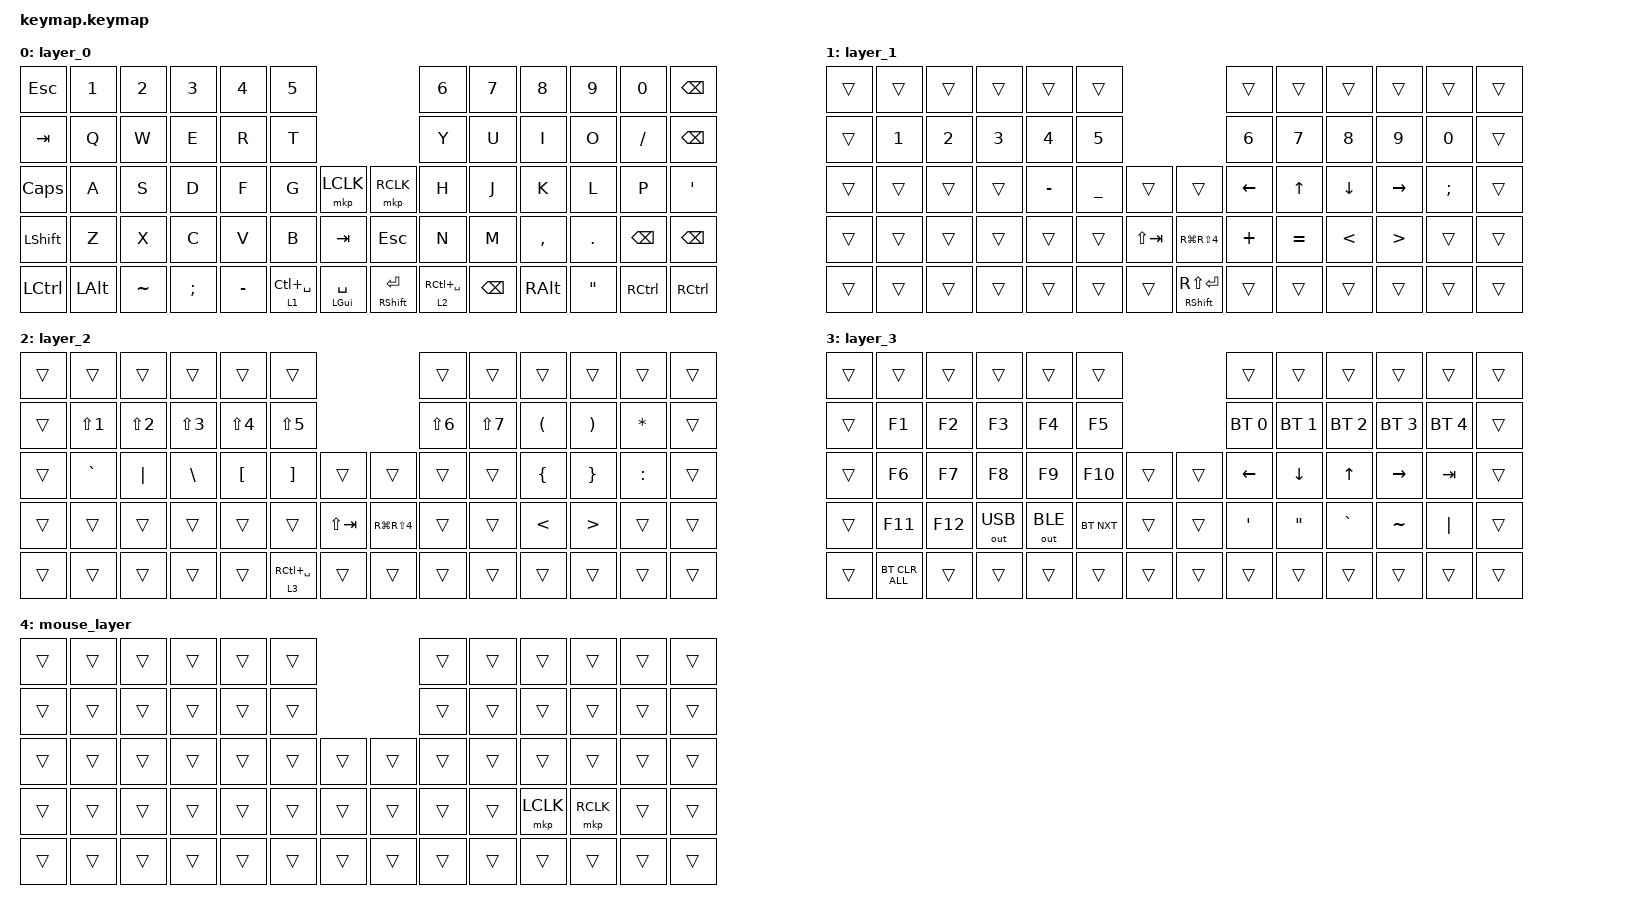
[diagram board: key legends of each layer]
#include <behaviors.dtsi>
#include <dt-bindings/zmk/bt.h>
#include <dt-bindings/zmk/keys.h>
#include <dt-bindings/zmk/outputs.h>
#include <dt-bindings/zmk/pointing.h>

/ {
    combos {
        compatible = "zmk,combos";

        bt_clear {
            bindings = <&bt BT_CLR>;
            key-positions = <28 29>;
            layers = <2>;
        };
    };

    keymap {
        compatible = "zmk,keymap";

        layer_0 {
            bindings = <
&kp ESC    &kp N1        &kp N2     &kp N3    &kp N4     &kp N5                                             &kp N6           &kp N7    &kp N8     &kp N9             &kp N0         &kp BSPC
&kp TAB    &kp Q         &kp W      &kp E     &kp R      &kp T                                              &kp Y            &kp U     &kp I      &kp O              &kp SLASH      &kp BSPC
&kp CAPS   &kp A         &kp S      &kp D     &kp F      &kp G            &mkp LCLK       &mkp RCLK         &kp H            &kp J     &kp K      &kp L              &kp P          &kp SQT
&kp LSHFT  &kp Z         &kp X      &kp C     &kp V      &kp B            &kp TAB         &kp ESCAPE        &kp N            &kp M     &kp COMMA  &kp DOT            &kp BACKSPACE  &kp BACKSPACE
&kp LCTRL  &kp LEFT_ALT  &kp TILDE  &kp SEMI  &kp MINUS  &lt 1 LC(SPACE)  &mt LGUI SPACE  &mt RSHIFT ENTER  &lt 2 RC(SPACE)  &kp BSPC  &kp RALT   &kp DOUBLE_QUOTES  &kp RCTRL      &kp RCTRL
            >;
        };

        layer_1 {
            bindings = <
&trans  &trans        &trans        &trans        &trans        &trans                                                  &trans          &trans        &trans          &trans            &trans         &trans
&trans  &kp NUMBER_1  &kp NUMBER_2  &kp NUMBER_3  &kp NUMBER_4  &kp N5                                                  &kp NUMBER_6    &kp N7        &kp N8          &kp N9            &kp N0         &trans
&trans  &trans        &trans        &trans        &kp MINUS     &kp UNDERSCORE  &trans       &trans                     &kp LEFT_ARROW  &kp UP_ARROW  &kp DOWN_ARROW  &kp RIGHT_ARROW   &kp SEMICOLON  &trans
&trans  &trans        &trans        &trans        &trans        &trans          &kp LS(TAB)  &kp RG(RS(NUMBER_4))       &kp PLUS        &kp EQUAL     &kp LESS_THAN   &kp GREATER_THAN  &trans         &trans
&trans  &trans        &trans        &trans        &trans        &trans          &trans       &mt RIGHT_SHIFT RS(ENTER)  &trans          &trans        &trans          &trans            &trans         &trans
            >;
        };

        layer_2 {
            bindings = <
&trans  &trans            &trans            &trans         &trans            &trans                                                &trans      &trans      &trans                &trans                 &trans        &trans
&trans  &kp LS(NUMBER_1)  &kp LS(NUMBER_2)  &kp LS(N3)     &kp LS(N4)        &kp LS(N5)                                            &kp LS(N6)  &kp LS(N7)  &kp LEFT_PARENTHESIS  &kp RIGHT_PARENTHESIS  &kp ASTERISK  &trans
&trans  &kp GRAVE         &kp PIPE          &kp BACKSLASH  &kp LEFT_BRACKET  &kp RIGHT_BRACKET  &trans       &trans                &trans      &trans      &kp LEFT_BRACE        &kp RIGHT_BRACE        &kp COLON     &trans
&trans  &trans            &trans            &trans         &trans            &trans             &kp LS(TAB)  &kp RG(RS(NUMBER_4))  &trans      &trans      &kp LESS_THAN         &kp GREATER_THAN       &trans        &trans
&trans  &trans            &trans            &trans         &trans            &lt 3 RC(SPACE)    &trans       &trans                &trans      &trans      &trans                &trans                 &trans        &trans
            >;
        };

        layer_3 {
            bindings = <
&trans  &trans          &trans   &trans        &trans        &trans                      &trans            &trans        &trans        &trans        &trans        &trans
&trans  &kp F1          &kp F2   &kp F3        &kp F4        &kp F5                      &bt BT_SEL 0      &bt BT_SEL 1  &bt BT_SEL 2  &bt BT_SEL 3  &bt BT_SEL 4  &trans
&trans  &kp F6          &kp F7   &kp F8        &kp F9        &kp F10     &trans  &trans  &kp LEFT          &kp DOWN      &kp UP_ARROW  &kp RIGHT     &kp TAB       &trans
&trans  &kp F11         &kp F12  &out OUT_USB  &out OUT_BLE  &bt BT_NXT  &trans  &trans  &kp SINGLE_QUOTE  &kp DQT       &kp GRAVE     &kp TILDE     &kp PIPE      &trans
&trans  &bt BT_CLR_ALL  &trans   &trans        &trans        &trans      &trans  &trans  &trans            &trans        &trans        &trans        &trans        &trans
            >;
        };

        mouse_layer {
            bindings = <
&trans  &trans  &trans  &trans  &trans  &trans                  &trans  &trans  &trans     &trans     &trans  &trans
&trans  &trans  &trans  &trans  &trans  &trans                  &trans  &trans  &trans     &trans     &trans  &trans
&trans  &trans  &trans  &trans  &trans  &trans  &trans  &trans  &trans  &trans  &trans     &trans     &trans  &trans
&trans  &trans  &trans  &trans  &trans  &trans  &trans  &trans  &trans  &trans  &mkp LCLK  &mkp RCLK  &trans  &trans
&trans  &trans  &trans  &trans  &trans  &trans  &trans  &trans  &trans  &trans  &trans     &trans     &trans  &trans
            >;
        };
    };
};
